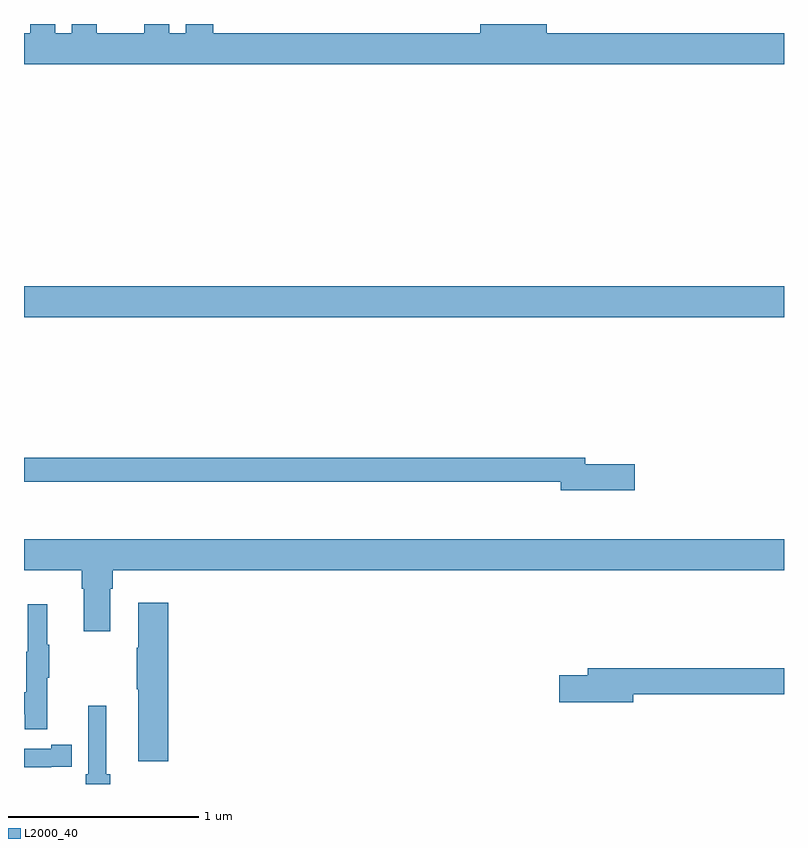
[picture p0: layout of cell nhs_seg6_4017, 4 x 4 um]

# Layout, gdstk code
import gdstk
lib = gdstk.Library(unit=1e-6, precision=1e-09)
def R(c, l, rs):  # rectangles x0, y0, x1, y1
    for r in rs: c.add(gdstk.rectangle(r[:2], r[2:], *l))
def P(c, l, *ps):  # polygons
    for p in ps: c.add(gdstk.Polygon(p, *l))
L2000_40 = (2000, 40)

nhs_seg6_4017 = lib.new_cell('nhs_seg6_4017')
R(nhs_seg6_4017, L2000_40, [(347,993.956,351,994.12)])
P(nhs_seg6_4017, L2000_40, [(351,995.452),(349.75,995.452),(349.75,995.5),(349.4,995.5),(349.4,995.452),(347.996,995.452),(347.996,995.5),(347.852,995.5),(347.852,995.452),(347.764,995.452),(347.764,995.5),(347.633,995.5),(347.633,995.452),(347.383,995.452),(347.383,995.5),(347.252,995.5),(347.252,995.452),(347.164,995.452),(347.164,995.5),(347.033,995.5),(347.033,995.452),(347,995.452),(347,995.288),(351,995.288)],
  [(350.215,993.182),(349.954,993.182),(349.954,993.218),(347,993.218),(347,993.09),(349.826,993.09),(349.826,993.047),(350.215,993.047)],
  [(347.455,992.528),(347.468,992.528),(347.468,992.624),(351,992.624),(351,992.788),(347,992.788),(347,992.624),(347.303,992.624),(347.303,992.528),(347.315,992.528),(347.315,992.304),(347.455,992.304)],
  [(347.759,992.455),(347.6,992.455),(347.6,992.216),(347.593,992.216),(347.593,991.999),(347.6,991.999),(347.6,991.62),(347.759,991.62)],
  [(347.123,992.059),(347.134,992.059),(347.134,992.233),(347.123,992.233),(347.123,992.446),(347.02,992.446),(347.02,992.196),(347.013,992.196),(347.013,991.982),(347,991.982),(347,991.866),(347.005,991.866),(347.005,991.788),(347.123,991.788)],
  [(350.206,991.972),(351,991.972),(351,992.108),(349.967,992.108),(349.967,992.072),(349.818,992.072),(349.818,991.93),(350.206,991.93)],
  [(347.453,991.552),(347.434,991.552),(347.434,991.912),(347.337,991.912),(347.337,991.552),(347.324,991.552),(347.324,991.5),(347.453,991.5)],
  [(347.144,991.59),(347.252,991.59),(347.252,991.706),(347.144,991.706),(347.144,991.686),(347,991.686),(347,991.589),(347.144,991.589)])

lib.write_gds('nhs_seg6_4017.gds')
